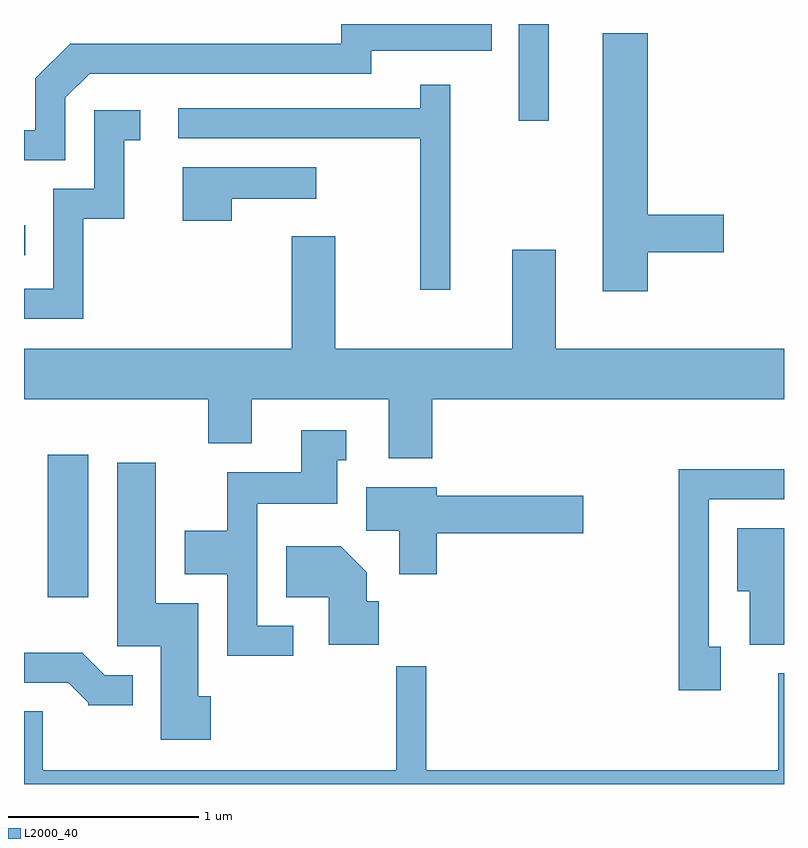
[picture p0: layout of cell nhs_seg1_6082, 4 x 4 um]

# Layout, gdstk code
import gdstk
lib = gdstk.Library(unit=1e-6, precision=1e-09)
def R(c, l, rs):  # rectangles x0, y0, x1, y1
    for r in rs: c.add(gdstk.rectangle(r[:2], r[2:], *l))
def P(c, l, *ps):  # polygons
    for p in ps: c.add(gdstk.Polygon(p, *l))
L2000_40 = (2000, 40)

nhs_seg1_6082 = lib.new_cell('nhs_seg1_6082')
R(nhs_seg1_6082, L2000_40, [(367.736,960.696,367.949,961.444), (367.611,962.496,367.618,962.654), (370.216,963.203,370.374,963.712)])
P(nhs_seg1_6082, L2000_40, [(367.829,963.324),(367.957,963.451),(369.439,963.451),(369.439,963.571),(370.073,963.571),(370.073,963.712),(369.281,963.712),(369.281,963.609),(367.854,963.609),(367.671,963.427),(367.671,963.154),(367.611,963.154),(367.611,962.996),(367.829,962.996)],
  [(370.894,962.511),(371.294,962.511),(371.294,962.709),(370.894,962.709),(370.894,963.664),(370.656,963.664),(370.656,962.306),(370.894,962.306)],
  [(369.854,963.393),(369.696,963.393),(369.696,963.269),(368.423,963.269),(368.423,963.111),(369.696,963.111),(369.696,962.313),(369.854,962.313)],
  [(367.924,962.686),(368.139,962.686),(368.139,963.101),(368.223,963.101),(368.223,963.259),(367.981,963.259),(367.981,962.844),(367.766,962.844),(367.766,962.319),(367.611,962.319),(367.611,962.161),(367.924,962.161)],
  [(368.704,962.791),(369.148,962.791),(369.148,962.959),(368.446,962.959),(368.446,962.676),(368.704,962.676)],
  [(369.759,961.736),(371.611,961.736),(371.611,962.004),(370.409,962.004),(370.409,962.524),(370.181,962.524),(370.181,962.004),(369.249,962.004),(369.249,962.594),(369.021,962.594),(369.021,962.004),(367.611,962.004),(367.611,961.736),(368.581,961.736),(368.581,961.506),(368.809,961.506),(368.809,961.736),(369.531,961.736),(369.531,961.426),(369.759,961.426)],
  [(369.028,960.544),(368.839,960.544),(368.839,961.186),(369.259,961.186),(369.259,961.416),(369.308,961.416),(369.308,961.574),(369.071,961.574),(369.071,961.354),(368.681,961.354),(368.681,961.044),(368.456,961.044),(368.456,960.816),(368.681,960.816),(368.681,960.386),(369.028,960.386)],
  [(368.594,960.174),(368.529,960.174),(368.529,960.664),(368.304,960.664),(368.304,961.404),(368.101,961.404),(368.101,960.436),(368.331,960.436),(368.331,959.946),(368.594,959.946)],
  [(371.279,960.434),(371.214,960.434),(371.214,961.211),(371.611,961.211),(371.611,961.369),(371.056,961.369),(371.056,960.206),(371.279,960.206)],
  [(369.784,961.031),(370.554,961.031),(370.554,961.229),(369.784,961.229),(369.784,961.274),(369.411,961.274),(369.411,961.046),(369.586,961.046),(369.586,960.816),(369.784,960.816)],
  [(371.611,961.059),(371.366,961.059),(371.366,960.726),(371.431,960.726),(371.431,960.446),(371.611,960.446)],
  [(369.479,960.674),(369.414,960.674),(369.414,960.827),(369.277,960.964),(368.991,960.964),(368.991,960.696),(369.216,960.696),(369.216,960.446),(369.479,960.446)],
  [(368.183,960.284),(368.037,960.284),(367.917,960.404),(367.611,960.404),(367.611,960.246),(367.844,960.246),(367.95,960.14),(367.95,960.126),(368.183,960.126)],
  [(371.611,960.294),(371.581,960.294),(371.581,959.784),(369.729,959.784),(369.729,960.333),(369.571,960.333),(369.571,959.784),(367.709,959.784),(367.709,960.094),(367.611,960.094),(367.611,959.712),(371.611,959.712)])

lib.write_gds('nhs_seg1_6082.gds')
